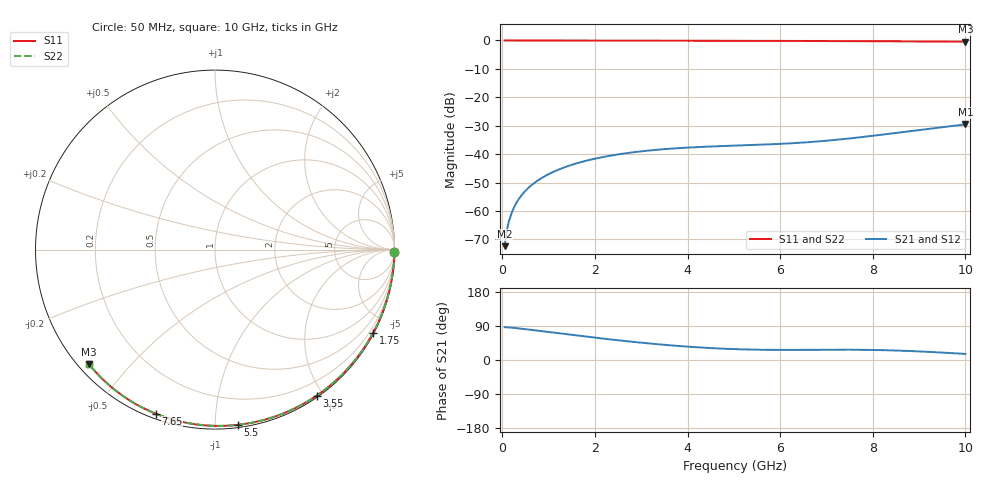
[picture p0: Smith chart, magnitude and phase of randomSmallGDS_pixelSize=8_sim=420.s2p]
! freq	dB(S11)	phase(S11)	dB(S12)	phase(S12)
!  dB(S21)	phase(S21)	dB(S22)	phase(S22)
!S-par simulation data
#  GHz  S  DB  R 50
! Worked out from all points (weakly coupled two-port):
!   200 points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, 50 MHz to 10 GHz, reference 50 ohm
!   highest |S21| = -29.53 dB at 10 GHz (marker M1); lowest = -72.4 dB at 50 MHz (marker M2)
!   lowest |S11| = -0.5 dB at 10 GHz (marker M3), VSWR 37.99, Z = 1.51 - j19.3 ohm
!   |S11| at or under -10 dB: nowhere
!   |S22| runs from -0.5 to 0.0 dB; largest |S21 - S12| = 0
!   S11 on the Smith chart (normalised r, x): 50 MHz: open; 1.75 GHz: 0.04, -4.02; 3.55 GHz: 0.02, -1.91; 5.5 GHz: 0.02, -1.14; 7.65 GHz: 0.02, -0.70; 10 GHz: 0.03, -0.39
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0.05  -0.00 -0.8  -72.40 86.7  -72.40 86.7  -0.00 -0.8
0.1  -0.00 -1.6  -66.64 86.1  -66.64 86.1  -0.00 -1.6
0.15  -0.00 -2.4  -63.22 85.8  -63.22 85.8  -0.00 -2.4
0.2  -0.00 -3.2  -60.77 85.3  -60.77 85.3  -0.00 -3.2
0.25  -0.00 -4.1  -58.86 84.8  -58.86 84.8  -0.00 -4.1
0.35  -0.00 -5.7  -55.97 83.5  -55.97 83.5  -0.00 -5.7
0.5  -0.01 -8.1  -52.91 81.4  -52.91 81.4  -0.01 -8.1
0.7  -0.01 -11.3  -50.04 78.4  -50.04 78.4  -0.01 -11.3
1  -0.02 -16.1  -47.04 73.8  -47.04 73.8  -0.02 -16.1
1.35  -0.03 -21.6  -44.60 68.5  -44.60 68.5  -0.03 -21.6
1.75  -0.04 -27.9  -42.59 62.5  -42.59 62.5  -0.04 -27.9
2.5  -0.05 -39.5  -40.10 52.0  -40.10 52.0  -0.05 -39.5
3.4  -0.07 -53.0  -38.39 41.1  -38.39 41.1  -0.07 -53.0
3.55  -0.07 -55.2  -38.19 39.5  -38.19 39.5  -0.07 -55.2
4.3  -0.09 -66.0  -37.46 32.9  -37.46 32.9  -0.09 -66.0
5.05  -0.12 -76.4  -37.00 28.6  -37.00 28.6  -0.12 -76.4
5.5  -0.13 -82.5  -36.74 27.2  -36.74 27.2  -0.13 -82.5
6.7  -0.19 -98.1  -35.69 26.9  -35.69 26.9  -0.19 -98.1
7.65  -0.25 -109.9  -34.21 27.1  -34.21 27.1  -0.25 -109.9
8.35  -0.30 -118.4  -32.86 25.6  -32.86 25.6  -0.30 -118.4
9.2  -0.37 -128.4  -31.12 21.5  -31.12 21.5  -0.37 -128.4
10  -0.46 -137.8  -29.53 16.1  -29.53 16.1  -0.46 -137.8
